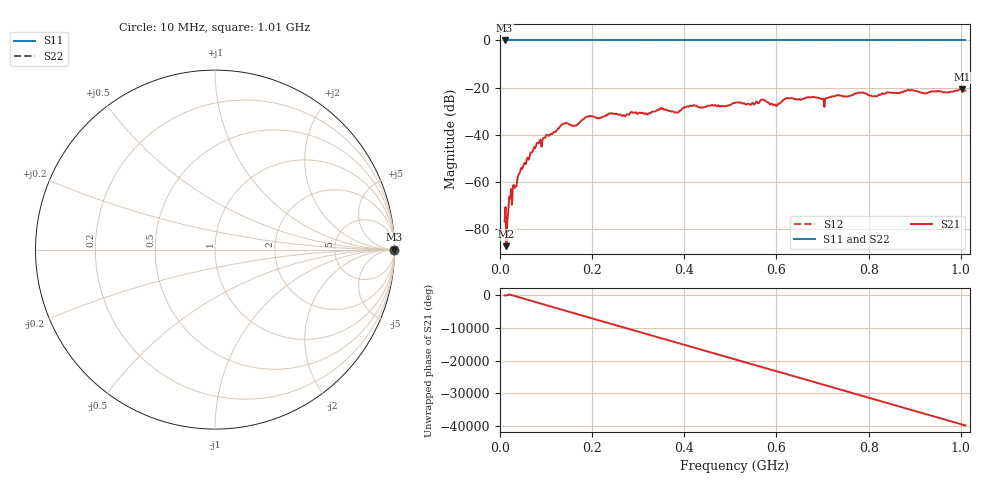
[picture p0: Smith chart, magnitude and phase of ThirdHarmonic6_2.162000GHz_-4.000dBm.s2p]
! 8/17/2025 1:48:09 AM
! C:\ANRITSUVNA\TEMP\TEMP.S2P
! CHANNEL.1
! TR.MEASUREMENT
! RAW.DATA
! RF.CORRECTION.OFF
! AVERAGING.OFF
! IF.BANDWIDTH: 5KHZ
! SWEEPTYPE:  FREQ.SWEEP(Linear)
! Reference Plane Port Info
! PORT:  PORT1  PORT2
! DISTANCE:  0  m  0  m
! TIME:  0  s  0  s
! PHASE.OFFSET:  0  deg.  0  deg.
! LOSS:  0  dB  0  dB
! REF.LOSS:  0  dB  0  dB
! REF.FREQ:  0  Hz  0  Hz
! Power Info
! POWER:  -20  dBm  -20  dBm
! EFF.POWER:  -20  dBm  -20  dBm
! SOURCE.ATTEN:  0  dB  0  dB
! TEST.ATTEN:  0  dB  0  dB
# GHZ S RI R 50.0
! FREQ.GHZ  S11RE  S11IM  S21RE  S21IM  S12RE  S12IM  S22RE  S22IM
!; PortSelection: Port_12
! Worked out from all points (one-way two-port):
!   501 points, 10 MHz to 1.01 GHz, reference 50 ohm
!   highest |S21| = -20.68 dB at 1.002 GHz (marker M1); lowest = -87.3 dB at 14 MHz (marker M2)
!   lowest |S11| = 0.0 dB at 10 MHz (marker M3)
!   |S11| at or under -10 dB: nowhere
!   |S22| runs from 0.0 to 0.0 dB; largest |S21 - S12| = 1.1
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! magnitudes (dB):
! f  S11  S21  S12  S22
! 10 MHz  0.0  -76.8  0.0  0.0
! 14 MHz  0.0  -87.3  0.0  0.0
! 24 MHz  0.0  -63.0  0.0  0.0
! 42 MHz  0.0  -56.4  0.0  0.0
! 78 MHz  0.0  -44.8  0.0  0.0
! 136 MHz  0.0  -35.6  0.0  0.0
! 162 MHz  0.0  -36.0  0.0  0.0
! 178 MHz  0.0  -33.8  0.0  0.0
! 344 MHz  0.0  -29.5  0.0  0.0
! 384 MHz  0.0  -30.5  0.0  0.0
! 416 MHz  0.0  -27.8  0.0  0.0
! 510 MHz  0.0  -26.5  0.0  0.0
! 570 MHz  0.0  -25.1  0.0  0.0
! 598 MHz  0.0  -27.5  0.0  0.0
! 622 MHz  0.0  -24.5  0.0  0.0
! 678 MHz  0.0  -24.0  0.0  0.0
! 702 MHz  0.0  -24.8  0.0  0.0
! 780 MHz  0.0  -22.2  0.0  0.0
! 814 MHz  0.0  -23.6  0.0  0.0
! 844 MHz  0.0  -22.1  0.0  0.0
! 1.002 GHz  0.0  -20.7  0.0  0.0
! 1.01 GHz  0.0  -21.3  0.0  0.0
